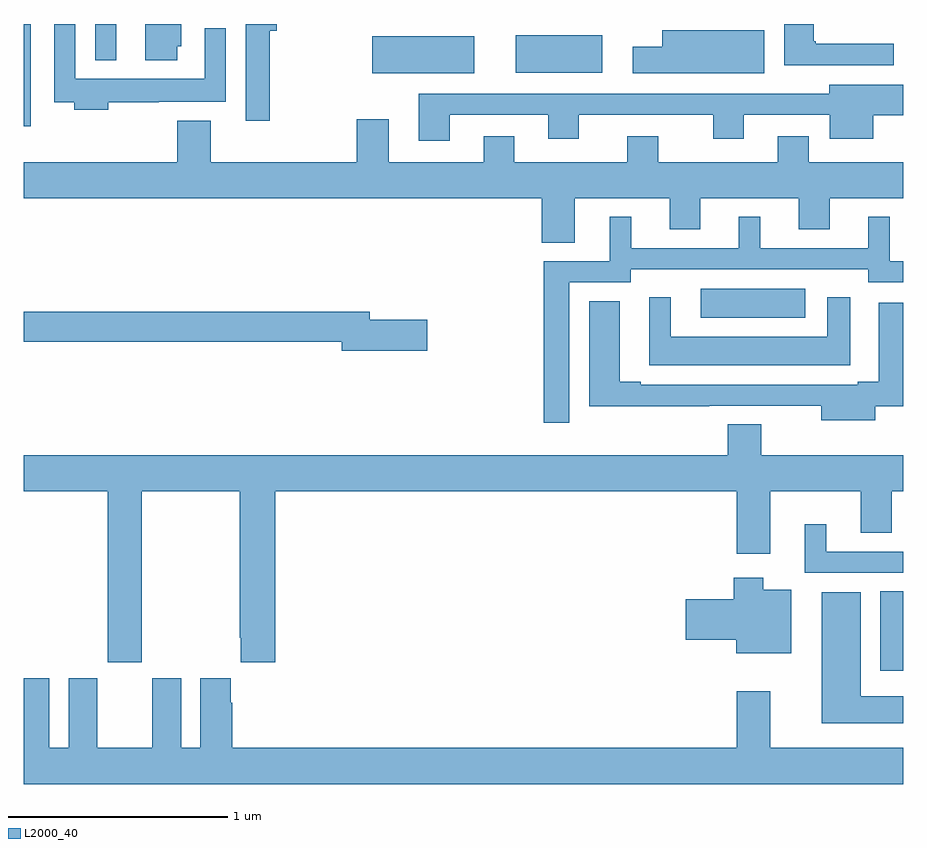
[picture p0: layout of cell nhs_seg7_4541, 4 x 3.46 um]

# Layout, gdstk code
import gdstk
lib = gdstk.Library(unit=1e-6, precision=1e-09)
def R(c, l, rs):  # rectangles x0, y0, x1, y1
    for r in rs: c.add(gdstk.rectangle(r[:2], r[2:], *l))
def P(c, l, *ps):  # polygons
    for p in ps: c.add(gdstk.Polygon(p, *l))
L2000_40 = (2000, 40)

nhs_seg7_4541 = lib.new_cell('nhs_seg7_4541')
R(nhs_seg7_4541, L2000_40, [(398.894,1073.058,399,1073.42), (398.079,1074.665,398.554,1074.796), (395,1075.536,395.032,1076), (396.584,1075.775,397.048,1075.945), (397.238,1075.778,397.63,1075.948), (395.325,1075.835,395.422,1076)])
P(nhs_seg7_4541, L2000_40, [(395.384,1075.644),(395.615,1075.644),(395.615,1075.646),(395.919,1075.646),(395.919,1075.981),(395.823,1075.981),(395.823,1075.75),(395.235,1075.75),(395.235,1076),(395.139,1076),(395.139,1075.644),(395.231,1075.644),(395.231,1075.61),(395.384,1075.61)],
  [(398.957,1075.91),(398.601,1075.91),(398.601,1075.921),(398.593,1075.921),(398.593,1076),(398.459,1076),(398.459,1075.812),(398.957,1075.812)],
  [(396.118,1075.97),(396.15,1075.97),(396.15,1076),(396.009,1076),(396.009,1075.56),(396.118,1075.56)],
  [(395.698,1075.899),(395.716,1075.899),(395.716,1076),(395.552,1076),(395.552,1075.836),(395.698,1075.836)],
  [(398.368,1075.972),(397.904,1075.972),(397.904,1075.897),(397.77,1075.897),(397.77,1075.775),(398.368,1075.775)],
  [(396.937,1075.587),(397.385,1075.587),(397.385,1075.478),(397.525,1075.478),(397.525,1075.587),(398.135,1075.587),(398.135,1075.478),(398.275,1075.478),(398.275,1075.587),(398.666,1075.587),(398.666,1075.478),(398.863,1075.478),(398.863,1075.586),(399,1075.586),(399,1075.723),(398.663,1075.723),(398.663,1075.683),(396.797,1075.683),(396.797,1075.47),(396.937,1075.47)],
  [(397.507,1075.208),(397.937,1075.208),(397.937,1075.066),(398.077,1075.066),(398.077,1075.208),(398.525,1075.208),(398.525,1075.066),(398.665,1075.066),(398.665,1075.208),(399,1075.208),(399,1075.372),(398.569,1075.372),(398.569,1075.489),(398.429,1075.489),(398.429,1075.372),(397.885,1075.372),(397.885,1075.489),(397.745,1075.489),(397.745,1075.372),(397.231,1075.372),(397.231,1075.489),(397.091,1075.489),(397.091,1075.372),(396.661,1075.372),(396.661,1075.567),(396.514,1075.567),(396.514,1075.372),(395.851,1075.372),(395.851,1075.561),(395.699,1075.561),(395.699,1075.372),(395,1075.372),(395,1075.208),(397.355,1075.208),(397.355,1075.006),(397.507,1075.006)],
  [(397.482,1074.825),(397.761,1074.825),(397.761,1074.885),(398.841,1074.885),(398.841,1074.825),(399,1074.825),(399,1074.921),(398.938,1074.921),(398.938,1075.123),(398.84,1075.123),(398.84,1074.981),(398.35,1074.981),(398.35,1075.123),(398.252,1075.123),(398.252,1074.981),(397.762,1074.981),(397.762,1075.123),(397.664,1075.123),(397.664,1074.921),(397.366,1074.921),(397.366,1074.186),(397.482,1074.186)],
  [(398.758,1074.757),(398.654,1074.757),(398.654,1074.577),(397.942,1074.577),(397.942,1074.757),(397.844,1074.757),(397.844,1074.449),(398.758,1074.449)],
  [(398.872,1074.262),(399,1074.262),(399,1074.733),(398.888,1074.733),(398.888,1074.373),(398.792,1074.373),(398.792,1074.36),(397.807,1074.36),(397.807,1074.373),(397.711,1074.373),(397.711,1074.739),(397.571,1074.739),(397.571,1074.262),(398.117,1074.262),(398.117,1074.264),(398.627,1074.264),(398.627,1074.197),(398.872,1074.197)],
  [(396.835,1074.656),(396.574,1074.656),(396.574,1074.692),(395,1074.692),(395,1074.556),(396.446,1074.556),(396.446,1074.514),(396.835,1074.514)],
  [(395.538,1073.876),(395.983,1073.876),(395.983,1073.209),(395.987,1073.209),(395.987,1073.097),(396.143,1073.097),(396.143,1073.876),(398.243,1073.876),(398.243,1073.592),(398.395,1073.592),(398.395,1073.876),(398.807,1073.876),(398.807,1073.686),(398.947,1073.686),(398.947,1073.876),(399,1073.876),(399,1074.04),(398.353,1074.04),(398.353,1074.179),(398.201,1074.179),(398.201,1074.04),(395,1074.04),(395,1073.876),(395.383,1073.876),(395.383,1073.097),(395.538,1073.097)],
  [(399,1073.601),(398.65,1073.601),(398.65,1073.725),(398.552,1073.725),(398.552,1073.505),(399,1073.505)],
  [(398.491,1073.428),(398.362,1073.428),(398.362,1073.482),(398.228,1073.482),(398.228,1073.384),(398.01,1073.384),(398.01,1073.201),(398.24,1073.201),(398.24,1073.138),(398.491,1073.138)],
  [(399,1072.942),(398.806,1072.942),(398.806,1073.416),(398.63,1073.416),(398.63,1072.82),(399,1072.82)],
  [(399,1072.708),(398.395,1072.708),(398.395,1072.966),(398.243,1072.966),(398.243,1072.708),(395.948,1072.708),(395.948,1072.913),(395.941,1072.913),(395.941,1073.026),(395.804,1073.026),(395.804,1072.708),(395.716,1072.708),(395.716,1073.026),(395.585,1073.026),(395.585,1072.708),(395.335,1072.708),(395.335,1073.026),(395.204,1073.026),(395.204,1072.708),(395.116,1072.708),(395.116,1073.026),(395,1073.026),(395,1072.544),(399,1072.544)])

lib.write_gds('nhs_seg7_4541.gds')
